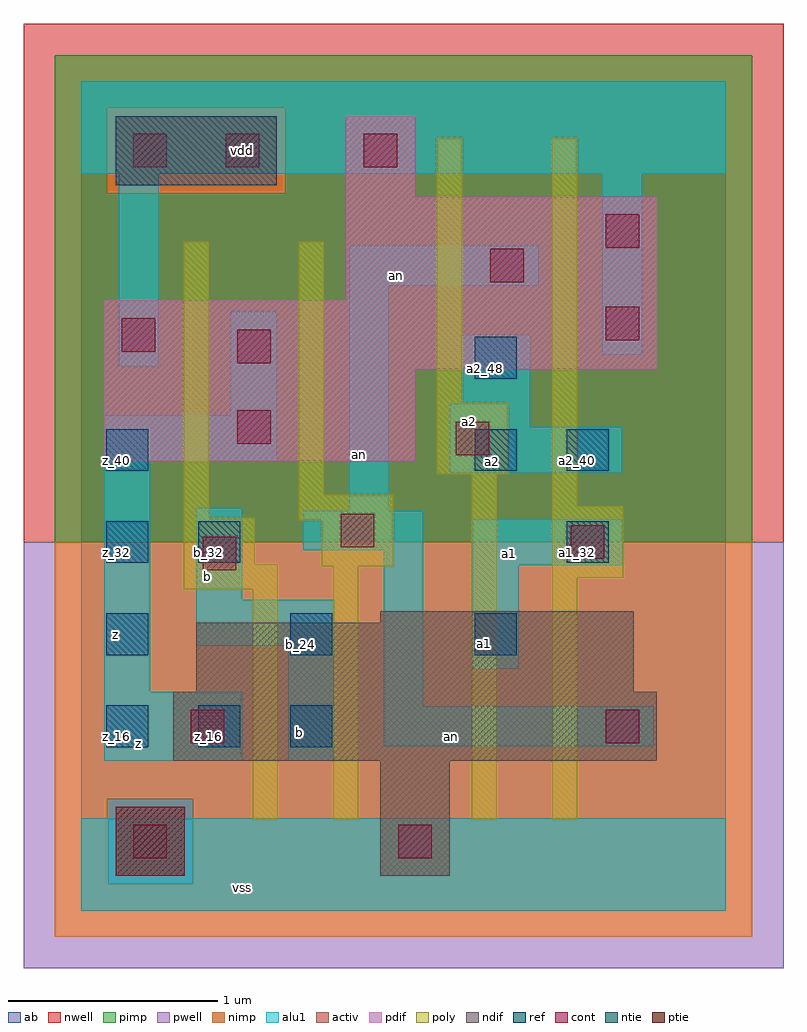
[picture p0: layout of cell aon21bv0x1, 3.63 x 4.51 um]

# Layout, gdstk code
import gdstk
lib = gdstk.Library(unit=1e-6, precision=2.5e-09)
def R(c, l, rs):  # rectangles x0, y0, x1, y1
    for r in rs: c.add(gdstk.rectangle(r[:2], r[2:], *l))
def A(c, l, x, y, w, h, nx, ny, dx, dy):  # array of equal rectangles
    R(c, l, [(x+i*dx, y+j*dy, x+i*dx+w, y+j*dy+h) for i in range(nx) for j in range(ny)])
ndif = (3, 0)
pdif = (4, 0)
ntie = (5, 0)
ptie = (6, 0)
ref = (24, 0)
cont = (25, 0)
pwell = (41, 0)
nwell = (42, 0)
activ = (43, 0)
pimp = (44, 0)
nimp = (45, 0)
poly = (46, 0)
alu1 = (49, 0)
ab = (63, 0)

aon21bv0x1 = lib.new_cell('aon21bv0x1')
R(aon21bv0x1, ndif, [(1.43,0.165,1.76,0.715), (0.44,0.715,2.75,1.045), (0.55,1.045,2.64,1.375), (1.43,1.375,2.64,1.43)])
R(aon21bv0x1, pdif, [(0.11,2.145,1.595,2.585), (0.11,2.585,2.75,2.915), (1.265,2.915,2.75,3.41), (1.265,3.41,1.595,3.795)])
R(aon21bv0x1, ntie, [(0.165,3.465,0.935,3.795)])
R(aon21bv0x1, ptie, [(0.165,0.165,0.495,0.495)])
A(aon21bv0x1, ref, 0.12, 0.78, 0.2, 0.2, 3, 1, 0.44, 0)
A(aon21bv0x1, ref, 0.12, 1.22, 0.2, 0.2, 3, 1, 0.88, 0)
R(aon21bv0x1, ref, [(0.12,1.66,0.32,1.86), (0.56,1.66,0.76,1.86), (2.32,1.66,2.52,1.86), (0.12,2.1,0.32,2.3), (1.88,2.1,2.08,2.3), (2.32,2.1,2.52,2.3), (1.88,2.54,2.08,2.74)])
R(aon21bv0x1, cont, [(0.25,0.25,0.41,0.41), (1.515,0.25,1.675,0.41), (0.525,0.8,0.685,0.96), (2.505,0.8,2.665,0.96), (0.58,1.625,0.74,1.785), (2.34,1.68,2.5,1.84), (1.24,1.735,1.4,1.895), (1.79,2.175,1.95,2.335), (0.745,2.23,0.905,2.39), (0.745,2.615,0.905,2.775), (0.195,2.67,0.355,2.83), (2.505,2.725,2.665,2.885), (1.955,3,2.115,3.16), (2.505,3.165,2.665,3.325), (0.25,3.55,0.41,3.71), (0.69,3.55,0.85,3.71), (1.35,3.55,1.51,3.71)])
R(aon21bv0x1, pwell, [(-0.275,-0.275,3.355,1.76)])
R(aon21bv0x1, nwell, [(-0.275,1.76,3.355,4.235)])
R(aon21bv0x1, activ, [(0.165,0.165,0.495,0.495), (1.43,0.165,1.76,0.715), (0.44,0.715,2.75,1.045), (0.55,1.045,2.64,1.375), (1.43,1.375,2.64,1.43), (0.11,2.145,1.595,2.585), (0.11,2.585,2.75,2.915), (1.265,2.915,2.75,3.41), (1.265,3.41,1.595,3.795), (0.165,3.465,0.935,3.795)])
R(aon21bv0x1, pimp, [(0.125,0.125,0.535,0.535), (-0.125,1.76,3.205,3.425), (-0.125,3.425,0.125,3.835), (0.975,3.425,3.205,3.835), (-0.125,3.835,3.205,4.085)])
R(aon21bv0x1, nimp, [(-0.125,-0.125,3.205,0.125), (-0.125,0.125,0.125,0.535), (0.535,0.125,3.205,0.535), (-0.125,0.535,3.205,1.76), (0.125,3.425,0.975,3.835)])
R(aon21bv0x1, poly, [(0.82,0.435,0.94,1.535), (1.205,0.435,1.325,1.645), (1.865,0.435,1.985,2.085), (2.25,0.435,2.37,1.59), (0.49,1.535,0.94,1.655), (2.25,1.59,2.59,1.93), (1.15,1.645,1.49,1.865), (0.49,1.655,0.83,1.875), (1.04,1.865,1.49,1.985), (0.49,1.875,0.61,3.195), (2.25,1.93,2.37,3.69), (1.04,1.985,1.16,3.195), (1.7,2.085,2.04,2.425), (1.7,2.425,1.82,3.69)])
R(aon21bv0x1, alu1, [(0,0,3.08,0.44), (0.11,0.715,0.77,1.045), (0.99,0.715,1.21,1.265), (1.445,0.785,2.735,0.975), (1.445,0.975,1.635,1.72), (0.11,1.045,0.33,2.145), (1.87,1.155,2.09,1.65), (0.55,1.265,1.21,1.485), (0.55,1.485,0.77,1.925), (1.87,1.65,2.585,1.87), (1.06,1.72,1.635,1.91), (1.28,1.91,1.47,2.985), (1.76,2.09,2.585,2.31), (0.11,2.145,0.935,2.365), (1.76,2.31,2.145,2.42), (0.715,2.365,0.935,2.86), (1.815,2.42,2.145,2.75), (0.18,2.6,0.37,3.52), (2.49,2.655,2.68,3.52), (1.28,2.985,2.185,3.175), (0,3.52,3.08,3.96)])
R(aon21bv0x1, ab, [(0,0,3.08,3.96)])
aon21bv0x1.add(gdstk.Label('vss', (0.77,0.11), layer=49, texttype=0))
aon21bv0x1.add(gdstk.Label('an', (1.7675,0.8325), layer=49, texttype=0))
aon21bv0x1.add(gdstk.Label('a1', (1.925,1.2775), layer=49, texttype=0))
aon21bv0x1.add(gdstk.Label('a1', (2.0475,1.705), layer=49, texttype=0))
aon21bv0x1.add(gdstk.Label('b', (1.045,0.8525), layer=49, texttype=0))
aon21bv0x1.add(gdstk.Label('z', (0.275,0.7975), layer=49, texttype=0))
aon21bv0x1.add(gdstk.Label('a2', (1.965,2.145), layer=49, texttype=0))
aon21bv0x1.add(gdstk.Label('a2', (1.855,2.3375), layer=49, texttype=0))
aon21bv0x1.add(gdstk.Label('an', (1.3275,2.1775), layer=49, texttype=0))
aon21bv0x1.add(gdstk.Label('b', (0.605,1.595), layer=49, texttype=0))
aon21bv0x1.add(gdstk.Label('z', (0.165,1.32), layer=49, texttype=0))
aon21bv0x1.add(gdstk.Label('an', (1.505,3.0325), layer=49, texttype=0))
aon21bv0x1.add(gdstk.Label('vdd', (0.77,3.63), layer=49, texttype=0))
aon21bv0x1.add(gdstk.Label('z_16', (0.61,0.83), layer=24, texttype=0))
aon21bv0x1.add(gdstk.Label('b_32', (0.61,1.71), layer=24, texttype=0))
aon21bv0x1.add(gdstk.Label('b_16', (1.05,0.83), layer=24, texttype=0))
aon21bv0x1.add(gdstk.Label('b_24', (1.05,1.27), layer=24, texttype=0))
aon21bv0x1.add(gdstk.Label('a1_24', (1.93,1.27), layer=24, texttype=0))
aon21bv0x1.add(gdstk.Label('a2_40', (1.93,2.15), layer=24, texttype=0))
aon21bv0x1.add(gdstk.Label('a2_48', (1.93,2.59), layer=24, texttype=0))
aon21bv0x1.add(gdstk.Label('z_16', (0.17,0.83), layer=24, texttype=0))
aon21bv0x1.add(gdstk.Label('z_24', (0.17,1.27), layer=24, texttype=0))
aon21bv0x1.add(gdstk.Label('z_32', (0.17,1.71), layer=24, texttype=0))
aon21bv0x1.add(gdstk.Label('z_40', (0.17,2.15), layer=24, texttype=0))
aon21bv0x1.add(gdstk.Label('a1_32', (2.37,1.71), layer=24, texttype=0))
aon21bv0x1.add(gdstk.Label('a2_40', (2.37,2.15), layer=24, texttype=0))

lib.write_gds('aon21bv0x1.gds')
